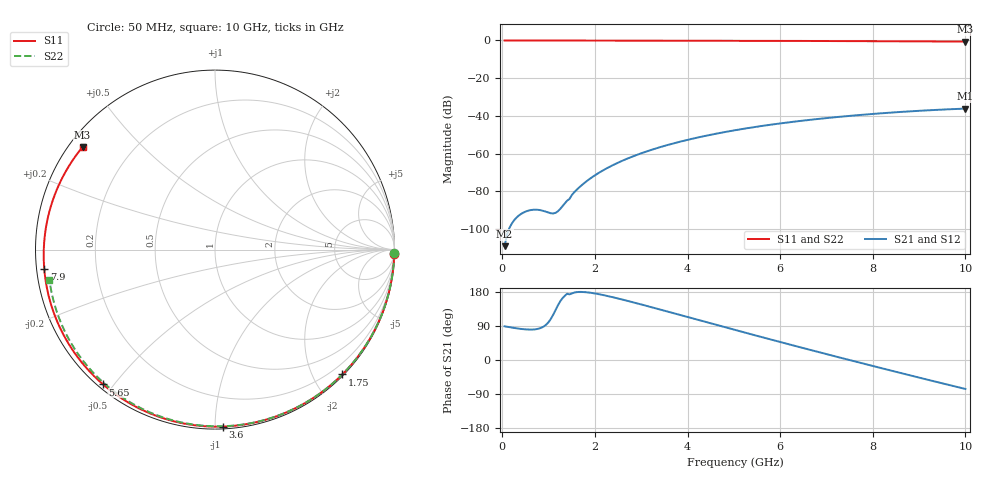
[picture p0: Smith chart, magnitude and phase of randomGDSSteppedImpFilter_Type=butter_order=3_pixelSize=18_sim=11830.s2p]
! freq	dB(S11)	phase(S11)	dB(S12)	phase(S12)
!  dB(S21)	phase(S21)	dB(S22)	phase(S22)
!S-par simulation data
#  GHz  S  DB  R 50
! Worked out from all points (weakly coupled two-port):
!   200 points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, 50 MHz to 10 GHz, reference 50 ohm
!   highest |S21| = -36.15 dB at 10 GHz (marker M1); lowest = -109.1 dB at 50 MHz (marker M2)
!   lowest |S11| = -0.6 dB at 10 GHz (marker M3), VSWR 28.99, Z = 1.93 + j17.1 ohm
!   |S11| at or under -10 dB: nowhere
!   |S22| runs from -0.6 to 0.0 dB; largest |S21 - S12| = 0
!   S11 on the Smith chart (normalised r, x): 50 MHz: 1, -91; 1.75 GHz: 0.02, -2.45; 3.6 GHz: 0.01, -1.05; 5.65 GHz: 0.01, -0.47; 7.9 GHz: 0.02, -0.06; 10 GHz: 0.04, +0.34
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0.05  -0.00 -1.3  -109.12 88.9  -109.12 88.9  -0.00 -1.0
0.4  -0.02 -10.3  -92.10 82.1  -92.10 82.1  -0.01 -7.8
0.75  -0.03 -19.3  -89.79 81.7  -89.79 81.7  -0.02 -14.6
1.15  -0.04 -29.5  -91.45 131.8  -91.45 131.8  -0.03 -22.3
1.55  -0.05 -39.5  -80.59 177.8  -80.59 177.8  -0.04 -29.9
1.6  -0.05 -40.7  -79.35 179.0  -79.35 179.0  -0.04 -30.9
1.75  -0.06 -44.4  -76.04 179.4  -76.04 179.4  -0.04 -33.7
2.05  -0.07 -51.7  -70.75 174.5  -70.75 174.5  -0.05 -39.3
2.45  -0.08 -61.2  -65.41 163.8  -65.41 163.8  -0.06 -46.7
2.9  -0.09 -71.7  -60.76 149.8  -60.76 149.8  -0.07 -54.9
3.4  -0.11 -82.9  -56.66 133.5  -56.66 133.5  -0.08 -63.8
3.6  -0.11 -87.3  -55.25 126.8  -55.25 126.8  -0.09 -67.4
4.3  -0.14 -102.3  -51.05 103.5  -51.05 103.5  -0.11 -79.4
5.05  -0.18 -117.7  -47.52 78.6  -47.52 78.6  -0.14 -91.9
5.65  -0.21 -129.7  -45.20 58.9  -45.20 58.9  -0.17 -101.6
6.2  -0.24 -140.5  -43.39 41.1  -43.39 41.1  -0.20 -110.3
6.7  -0.28 -150.2  -41.95 25.1  -41.95 25.1  -0.23 -118.1
7.3  -0.33 -161.8  -40.46 6.1  -40.46 6.1  -0.27 -127.4
7.9  -0.38 -173.6  -39.18 -12.7  -39.18 -12.7  -0.32 -136.6
8.35  -0.42 177.4  -38.34 -26.6  -38.34 -26.6  -0.37 -143.5
9.2  -0.51 159.8  -37.05 -52.5  -37.05 -52.5  -0.46 -156.8
10  -0.60 142.2  -36.15 -76.5  -36.15 -76.5  -0.56 -169.6
